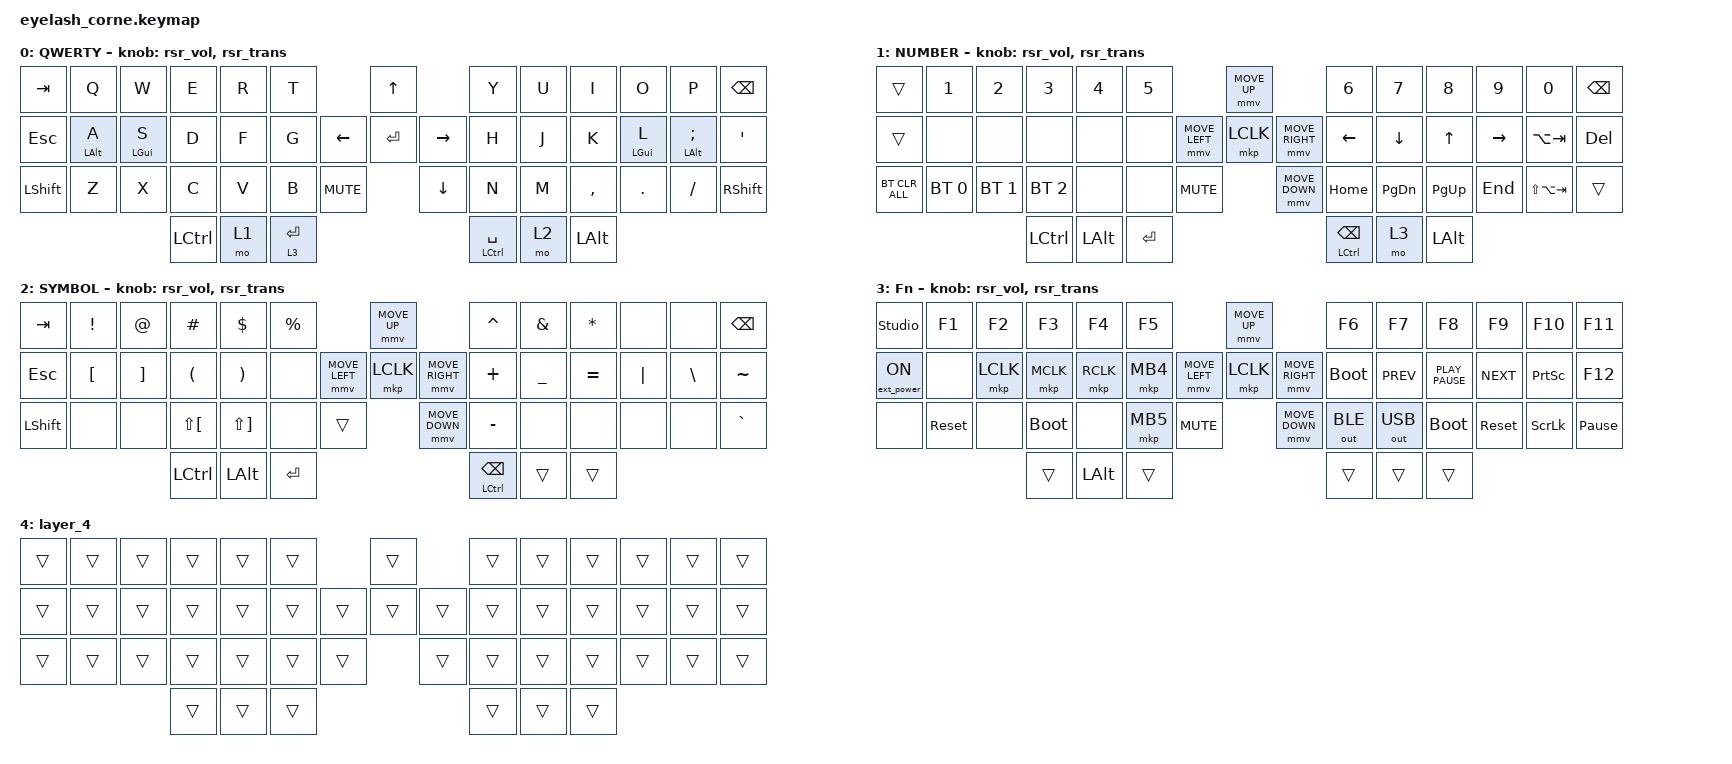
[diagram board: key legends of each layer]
#define ZMK_POINTING_DEFAULT_MOVE_VAL 1200  // 600
#define ZMK_POINTING_DEFAULT_SCRL_VAL 25   // 10

#include <input/processors.dtsi>
#include <zephyr/dt-bindings/input/input-event-codes.h>
#include <behaviors/runtime-sensor-rotate.dtsi>
#include <behaviors.dtsi>
#include <dt-bindings/zmk/bt.h>
#include <dt-bindings/zmk/ext_power.h>
#include <dt-bindings/zmk/keys.h>
#include <dt-bindings/zmk/outputs.h>
#include <dt-bindings/zmk/pointing.h>

&soft_off { hold-time-ms = <2000>; };

&mt {
    tapping-term-ms = <200>;
    flavor = "tap-preferred";
};

/ {
    behaviors {
        td0: td0 {
            compatible = "zmk,behavior-tap-dance";
            display-name = "Shift/Caps Lock Tap Dance";
            #binding-cells = <0>;
            bindings = <&kp LEFT_SHIFT>, <&kp CAPS>;
        };

        rsr_vol: rsr_vol {
            compatible = "zmk,behavior-runtime-sensor-rotate";
            #sensor-binding-cells = <0>;
            tap-ms = <5>;
            cw-binding = <&kp C_VOL_UP>;
            ccw-binding = <&kp C_VOL_DN>;
        };

        rsr_trans: rsr_trans {
            compatible = "zmk,behavior-runtime-sensor-rotate";
            #sensor-binding-cells = <0>;
            tap-ms = <0>;
        };
    };

    combos {
        compatible = "zmk,combos";

        softoff {
            bindings = <&soft_off>;
            key-positions = <1 15 29>;
        };
    };

    keymap {
        compatible = "zmk,keymap";

        default_layer {
            display-name = "QWERTY";
            bindings = <
&kp TAB         &kp Q           &kp W           &kp E             &kp R  &kp T                                 &kp UP                &kp Y                   &kp U  &kp I         &kp O           &kp P                   &kp BSPC
&kp ESCAPE      &mt LEFT_ALT A  &mt LEFT_GUI S  &kp D             &kp F  &kp G                       &kp LEFT  &kp ENTER  &kp RIGHT  &kp H                   &kp J  &kp K         &mt LEFT_GUI L  &mt LEFT_ALT SEMICOLON  &kp SQT
&kp LEFT_SHIFT  &kp Z           &kp X           &kp C             &kp V  &kp B         &kp C_MUTE              &kp DOWN              &kp N                   &kp M  &kp COMMA     &kp DOT         &kp FSLH                &kp RIGHT_SHIFT
                                                &kp LEFT_CONTROL  &mo 1  &lt 3 RETURN                                                &mt LEFT_CONTROL SPACE  &mo 2  &kp LEFT_ALT
            >;

            sensor-bindings = <&rsr_vol &rsr_trans>;
        };

        lower_layer {
            display-name = "NUMBER";
            bindings = <
&trans          &kp N1        &kp N2        &kp N3            &kp N4        &kp N5                                    &mmv MOVE_UP                     &kp N6                      &kp N7         &kp N8        &kp N9     &kp N0           &kp BSPC
&trans          &none         &none         &none             &none         &none                     &mmv MOVE_LEFT  &mkp LCLK       &mmv MOVE_RIGHT  &kp LEFT                    &kp DOWN       &kp UP        &kp RIGHT  &kp LA(TAB)      &kp DELETE
&bt BT_CLR_ALL  &bt BT_SEL 0  &bt BT_SEL 1  &bt BT_SEL 2      &none         &none       &kp C_MUTE                    &mmv MOVE_DOWN                   &kp HOME                    &kp PAGE_DOWN  &kp PAGE_UP   &kp END    &kp LS(LA(TAB))  &trans
                                            &kp LEFT_CONTROL  &kp LEFT_ALT  &kp RETURN                                                                 &mt LEFT_CONTROL BACKSPACE  &mo 3          &kp LEFT_ALT
            >;

            sensor-bindings = <&rsr_vol &rsr_trans>;
        };

        raise_layer {
            display-name = "SYMBOL";
            bindings = <
&kp TAB         &kp EXCL          &kp AT             &kp HASH              &kp DLLR               &kp PRCNT                             &mmv MOVE_UP                     &kp CARET                   &kp AMPS        &kp ASTRK  &none     &none     &kp BSPC
&kp ESC         &kp LEFT_BRACKET  &kp RIGHT_BRACKET  &kp LEFT_PARENTHESIS  &kp RIGHT_PARENTHESIS  &none                 &mmv MOVE_LEFT  &mkp LCLK       &mmv MOVE_RIGHT  &kp PLUS                    &kp UNDERSCORE  &kp EQUAL  &kp PIPE  &kp BSLH  &kp TILDE
&kp LEFT_SHIFT  &none             &none              &kp LS(LEFT_BRACKET)  &kp LS(RIGHT_BRACKET)  &none       &trans                    &mmv MOVE_DOWN                   &kp MINUS                   &none           &none      &none     &none     &kp GRAVE
                                                     &kp LEFT_CONTROL      &kp LEFT_ALT           &kp RETURN                                                             &mt LEFT_CONTROL BACKSPACE  &trans          &trans
            >;

            sensor-bindings = <&rsr_vol &rsr_trans>;
        };

        layer_3 {
            display-name = "Fn";
            bindings = <
&studio_unlock    &kp F1      &kp F2     &kp F3       &kp F4     &kp F5                                  &mmv MOVE_UP                     &kp F6        &kp F7        &kp F8            &kp F9      &kp F10          &kp F11
&ext_power EP_ON  &none       &mkp LCLK  &mkp MCLK    &mkp RCLK  &mkp MB4                &mmv MOVE_LEFT  &mkp LCLK       &mmv MOVE_RIGHT  &bootloader   &kp K_PREV    &kp K_PLAY_PAUSE  &kp K_NEXT  &kp PRINTSCREEN  &kp F12
&none             &sys_reset  &none      &bootloader  &none      &mkp MB5  &kp C_MUTE                    &mmv MOVE_DOWN                   &out OUT_BLE  &out OUT_USB  &bootloader       &sys_reset  &kp SCROLLLOCK   &kp PAUSE_BREAK
                                         &trans       &kp LALT   &trans                                                                   &trans        &trans        &trans
            >;

            sensor-bindings = <&rsr_vol &rsr_trans>;
        };

        layer_4 {
            bindings = <
&trans  &trans  &trans  &trans  &trans  &trans                    &trans          &trans  &trans  &trans  &trans  &trans  &trans
&trans  &trans  &trans  &trans  &trans  &trans            &trans  &trans  &trans  &trans  &trans  &trans  &trans  &trans  &trans
&trans  &trans  &trans  &trans  &trans  &trans  &trans            &trans          &trans  &trans  &trans  &trans  &trans  &trans
                        &trans  &trans  &trans                                    &trans  &trans  &trans
            >;
        };
    };
};
